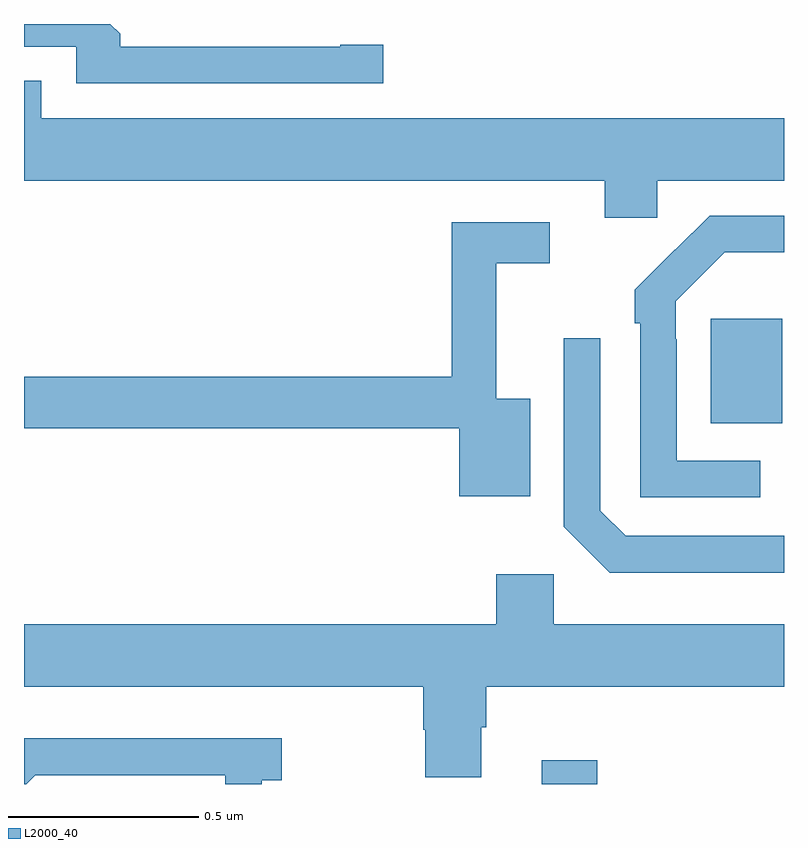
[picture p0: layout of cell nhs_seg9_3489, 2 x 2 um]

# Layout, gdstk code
import gdstk
lib = gdstk.Library(unit=1e-6, precision=1e-09)
def R(c, l, rs):  # rectangles x0, y0, x1, y1
    for r in rs: c.add(gdstk.rectangle(r[:2], r[2:], *l))
def P(c, l, *ps):  # polygons
    for p in ps: c.add(gdstk.Polygon(p, *l))
L2000_40 = (2000, 40)

nhs_seg9_3489 = lib.new_cell('nhs_seg9_3489')
R(nhs_seg9_3489, L2000_40, [(155.363,1193.5,155.508,1193.563), (155.807,1194.449,155.995,1194.724)])
P(nhs_seg9_3489, L2000_40, [(154.945,1195.445),(154.832,1195.445),(154.832,1195.44),(154.253,1195.44),(154.253,1195.474),(154.227,1195.5),(154,1195.5),(154,1195.44),(154.137,1195.44),(154.137,1195.344),(154.945,1195.344)],
  [(154.045,1195.351),(154,1195.351),(154,1195.088),(155.528,1195.088),(155.528,1194.99),(155.667,1194.99),(155.667,1195.088),(156,1195.088),(156,1195.252),(154.045,1195.252)],
  [(155.938,1194.351),(155.718,1194.351),(155.718,1194.671),(155.715,1194.671),(155.715,1194.771),(155.844,1194.9),(156,1194.9),(156,1194.996),(155.804,1194.996),(155.713,1194.905),(155.712,1194.906),(155.607,1194.801),(155.607,1194.713),(155.622,1194.713),(155.622,1194.255),(155.938,1194.255)],
  [(155.332,1194.514),(155.243,1194.514),(155.243,1194.87),(155.383,1194.87),(155.383,1194.978),(155.125,1194.978),(155.125,1194.572),(154,1194.572),(154,1194.436),(155.145,1194.436),(155.145,1194.257),(155.332,1194.257)],
  [(156,1194.153),(155.583,1194.153),(155.517,1194.219),(155.517,1194.673),(155.421,1194.673),(155.421,1194.177),(155.542,1194.056),(156,1194.056)],
  [(155.203,1193.65),(155.216,1193.65),(155.216,1193.756),(156,1193.756),(156,1193.92),(155.394,1193.92),(155.394,1194.052),(155.243,1194.052),(155.243,1193.92),(154,1193.92),(154,1193.756),(155.051,1193.756),(155.051,1193.643),(155.056,1193.643),(155.056,1193.518),(155.203,1193.518)],
  [(154.029,1193.523),(154.529,1193.523),(154.529,1193.5),(154.626,1193.5),(154.626,1193.51),(154.678,1193.51),(154.678,1193.62),(154,1193.62),(154,1193.5),(154.006,1193.5)])

lib.write_gds('nhs_seg9_3489.gds')
